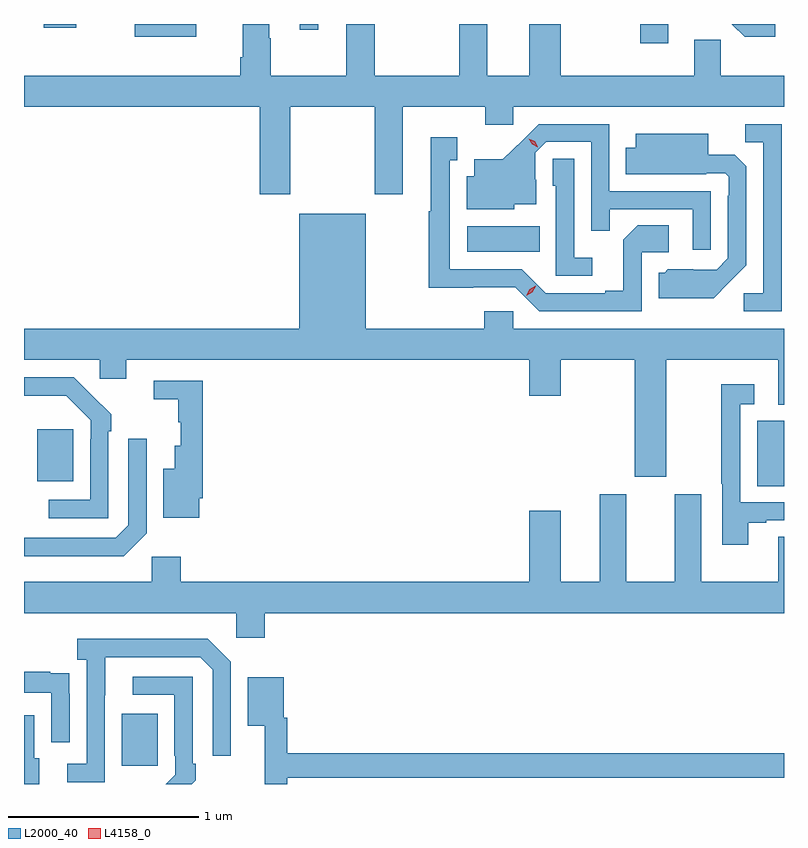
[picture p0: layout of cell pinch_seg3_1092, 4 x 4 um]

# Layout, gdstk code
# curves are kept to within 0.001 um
import gdstk
lib = gdstk.Library(unit=1e-6, precision=1e-09)
def R(c, l, rs):  # rectangles x0, y0, x1, y1
    for r in rs: c.add(gdstk.rectangle(r[:2], r[2:], *l))
def P(c, l, *ps):  # polygons
    for p in ps: c.add(gdstk.Polygon(p, *l))
L2000_40 = (2000, 40)
L4158_0 = (4158, 0)

pinch_seg3_1092 = lib.new_cell('pinch_seg3_1092')
R(pinch_seg3_1092, L2000_40, [(330.695,694.785,330.883,695.059), (334.04,696.256,334.18,696.6), (330.251,696.281,330.439,696.556), (332.514,697.49,332.894,697.624), (333.424,698.586,333.571,698.688), (330.762,698.621,331.086,698.688), (331.631,698.658,331.729,698.688), (330.283,698.667,330.456,698.688)])
P(pinch_seg3_1092, L2000_40, [(331.581,698.252),(332.026,698.252),(332.026,697.791),(332.173,697.791),(332.173,698.252),(332.608,698.252),(332.608,698.157),(332.754,698.157),(332.754,698.252),(334.18,698.252),(334.18,698.416),(333.846,698.416),(333.846,698.606),(333.707,698.606),(333.707,698.416),(333.004,698.416),(333.004,698.688),(332.84,698.688),(332.84,698.416),(332.617,698.416),(332.617,698.688),(332.47,698.688),(332.47,698.416),(332.025,698.416),(332.025,698.688),(331.877,698.688),(331.877,698.416),(331.479,698.416),(331.479,698.612),(331.471,698.612),(331.471,698.688),(331.331,698.688),(331.331,698.512),(331.319,698.512),(331.319,698.416),(330.18,698.416),(330.18,698.252),(331.421,698.252),(331.421,697.791),(331.581,697.791)],
  [(334.135,698.688),(333.906,698.688),(333.973,698.621),(334.135,698.621)],
  [(333.795,697.809),(333.261,697.809),(333.261,698.16),(332.888,698.16),(332.701,697.975),(332.549,697.975),(332.549,697.888),(332.51,697.888),(332.51,697.712),(332.76,697.712),(332.76,697.739),(332.875,697.739),(332.875,697.868),(332.871,697.868),(332.871,698.01),(332.928,698.067),(333.165,698.067),(333.165,697.6),(333.263,697.6),(333.263,697.713),(333.699,697.713),(333.699,697.5),(333.795,697.5)],
  [(334.167,698.16),(333.976,698.16),(333.976,698.065),(334.071,698.065),(334.071,697.272),(333.969,697.272),(333.969,697.176),(334.167,697.176)],
  [(333.889,697.325),(333.981,697.418),(333.981,697.94),(333.922,697.999),(333.781,697.999),(333.781,698.11),(333.401,698.11),(333.401,698.038),(333.346,698.038),(333.346,697.898),(333.77,697.898),(333.77,697.902),(333.87,697.902),(333.888,697.884),(333.888,697.784),(333.885,697.784),(333.885,697.455),(333.825,697.395),(333.568,697.396),(333.552,697.38),(333.521,697.38),(333.521,697.244),(333.809,697.244)],
  [(333.432,697.488),(333.574,697.488),(333.574,697.628),(333.409,697.628),(333.333,697.552),(333.333,697.285),(333.239,697.285),(333.239,697.272),(332.925,697.272),(332.799,697.398),(332.422,697.398),(332.422,697.971),(332.461,697.971),(332.461,698.092),(332.321,698.092),(332.321,697.703),(332.311,697.703),(332.311,697.301),(332.766,697.302),(332.892,697.176),(333.432,697.176)],
  [(333.172,697.459),(333.075,697.459),(333.075,697.979),(332.964,697.979),(332.964,697.836),(332.979,697.836),(332.979,697.362),(333.172,697.362)],
  [(333.559,696.92),(334.151,696.92),(334.151,696.685),(334.18,696.685),(334.18,697.084),(332.754,697.084),(332.754,697.177),(332.603,697.177),(332.603,697.084),(331.978,697.084),(331.978,697.69),(331.628,697.69),(331.628,697.084),(330.18,697.084),(330.18,696.92),(330.579,696.92),(330.579,696.822),(330.718,696.822),(330.718,696.92),(332.84,696.92),(332.84,696.732),(333.004,696.732),(333.004,696.92),(333.395,696.92),(333.395,696.306),(333.559,696.306)],
  [(330.624,696.545),(330.639,696.545),(330.639,696.633),(330.442,696.828),(330.18,696.828),(330.18,696.732),(330.403,696.732),(330.531,696.603),(330.531,696.503),(330.528,696.503),(330.528,696.183),(330.309,696.183),(330.309,696.087),(330.624,696.087)],
  [(331.102,696.193),(331.121,696.193),(331.121,696.81),(330.864,696.81),(330.864,696.712),(330.993,696.712),(330.993,696.591),(331.004,696.591),(331.004,696.469),(330.974,696.469),(330.974,696.346),(330.914,696.346),(330.914,696.089),(331.102,696.089)],
  [(333.991,696.063),(334.087,696.063),(334.087,696.075),(334.18,696.075),(334.18,696.171),(333.951,696.171),(333.951,696.687),(334.024,696.687),(334.024,696.793),(333.85,696.793),(333.85,696.268),(333.855,696.268),(333.855,695.946),(333.991,695.946)],
  [(330.825,696.009),(330.825,696.505),(330.729,696.505),(330.729,696.051),(330.663,695.985),(330.18,695.985),(330.18,695.888),(330.704,695.888)],
  [(331.448,695.588),(334.18,695.588),(334.18,695.99),(334.151,695.99),(334.151,695.752),(333.745,695.752),(333.745,696.214),(333.605,696.214),(333.605,695.752),(333.349,695.752),(333.349,696.214),(333.209,696.214),(333.209,695.752),(333.004,695.752),(333.004,696.127),(332.84,696.127),(332.84,695.752),(331.004,695.752),(331.004,695.884),(330.852,695.884),(330.852,695.752),(330.18,695.752),(330.18,695.588),(331.296,695.588),(331.296,695.457),(331.448,695.457)],
  [(330.606,695.155),(330.607,695.355),(331.107,695.355),(331.173,695.289),(331.173,694.836),(331.269,694.836),(331.269,695.331),(331.148,695.452),(330.459,695.452),(330.459,695.342),(330.51,695.342),(330.51,694.794),(330.408,694.794),(330.408,694.698),(330.606,694.698)],
  [(330.42,695.162),(330.419,695.162),(330.419,695.271),(330.317,695.271),(330.317,695.278),(330.18,695.278),(330.18,695.169),(330.324,695.169),(330.324,694.908),(330.42,694.908)],
  [(331.083,694.707),(331.083,694.795),(331.068,694.795),(331.068,695.253),(330.753,695.253),(330.753,695.157),(330.972,695.157),(330.972,694.837),(330.975,694.837),(330.975,694.737),(330.926,694.688),(331.064,694.688)],
  [(331.565,694.722),(334.18,694.722),(334.18,694.85),(331.565,694.85),(331.565,695.037),(331.546,695.037),(331.546,695.251),(331.358,695.251),(331.358,694.994),(331.448,694.994),(331.448,694.688),(331.565,694.688)],
  [(330.259,694.824),(330.235,694.824),(330.235,695.05),(330.18,695.05),(330.18,694.688),(330.259,694.688)])
P(pinch_seg3_1092, L4158_0, [(332.885,698.04),(332.854,698.056),(332.837,698.085),(332.837,698.085),(332.837,698.085),(332.868,698.07),(332.885,698.041),(332.885,698.04)],
  [(332.824,697.259),(332.824,697.259),(332.842,697.291),(332.874,697.31),(332.874,697.31),(332.874,697.309),(332.856,697.277),(332.824,697.259)])

lib.write_gds('pinch_seg3_1092.gds')
